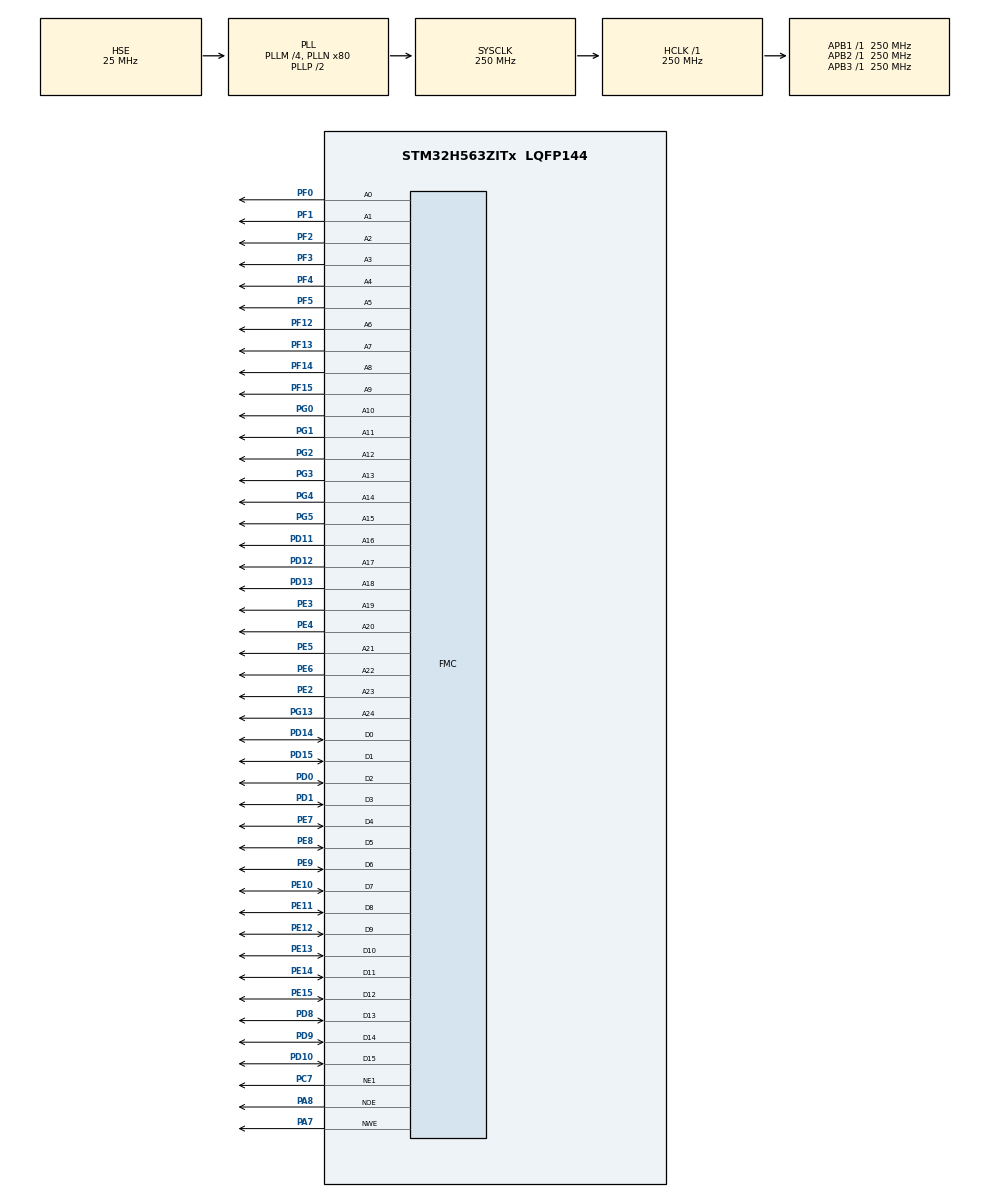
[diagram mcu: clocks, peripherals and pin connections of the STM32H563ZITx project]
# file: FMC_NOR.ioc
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BOOTPATH.BootPathName=LEGACY
BOOTPATH.UserSelectedBootPath=LEGACY
CORTEX_M33_NS.userName=CORTEX_M33
FMC.AddressSetupTime1=4
FMC.BusTurnAroundDuration1=1
FMC.DataHoldTime1=3
FMC.DataSetupTime1=8
FMC.WriteOperation1=FMC_WRITE_OPERATION_ENABLE
Mcu.Family=STM32H5
Mcu.Name=STM32H563ZITx
Mcu.Package=LQFP144
NVIC.PriorityGroup=NVIC_PRIORITYGROUP_4
PA15(JTDI).Signal=FMC_NBL1
PA7.Signal=FMC_NWE
PA8.Signal=FMC_NOE
PC7.Mode=NorPsramChipSelect1_1
PC7.Signal=FMC_NE1
PD0.Signal=FMC_D2_DA2
PD1.Signal=FMC_D3_DA3
PD10.Signal=FMC_D15_DA15
PD11.Signal=FMC_A16_CLE
PD12.Signal=FMC_A17_ALE
PD13.Signal=FMC_A18
PD14.Signal=FMC_D0_DA0
PD15.Signal=FMC_D1_DA1
PD8.Signal=FMC_D13_DA13
PD9.Signal=FMC_D14_DA14
PE0.Signal=FMC_NBL0
PE10.Signal=FMC_D7_DA7
PE11.Signal=FMC_D8_DA8
PE12.Signal=FMC_D9_DA9
PE13.Signal=FMC_D10_DA10
PE14.Signal=FMC_D11_DA11
PE15.Signal=FMC_D12_DA12
PE2.Signal=FMC_A23
PE3.Signal=FMC_A19
PE4.Signal=FMC_A20
PE5.Signal=FMC_A21
PE6.Signal=FMC_A22
PE7.Signal=FMC_D4_DA4
PE8.Signal=FMC_D5_DA5
PE9.Signal=FMC_D6_DA6
PF0.Signal=FMC_A0
PF1.Signal=FMC_A1
PF12.Signal=FMC_A6
PF13.Signal=FMC_A7
PF14.Signal=FMC_A8
PF15.Signal=FMC_A9
PF2.Signal=FMC_A2
PF3.Signal=FMC_A3
PF4.Signal=FMC_A4
PF5.Signal=FMC_A5
PG0.Signal=FMC_A10
PG1.Signal=FMC_A11
PG13.Signal=FMC_A24
PG2.Signal=FMC_A12
PG3.Signal=FMC_A13
PG4.Signal=FMC_A14_BA0
PG5.Signal=FMC_A15_BA1
PH0-OSC_IN(PH0).Mode=HSE-DIG-External-Clock-Source
PH0-OSC_IN(PH0).Signal=RCC_OSC_IN
ProjectManager.HeapSize=0x200
ProjectManager.StackSize=0x400
ProjectManager.TargetToolchain=EWARM V8
RCC.ADCFreq_Value=250000000
RCC.AHBFreq_Value=250000000
RCC.APB1Freq_Value=250000000
RCC.APB1TimFreq_Value=250000000
RCC.APB2Freq_Value=250000000
RCC.APB2TimFreq_Value=250000000
RCC.APB3Freq_Value=250000000
RCC.CSI_VALUE=4000000
RCC.CortexFreq_Value=250000000
RCC.EPOD_VALUE=25000000
RCC.HCLKFreq_Value=250000000
RCC.HSE_VALUE=25000000
RCC.HSI48_VALUE=48000000
RCC.HSI_VALUE=64000000
RCC.LSE_VALUE=32768
RCC.LSIRC_VALUE=32000
RCC.PLLM=4
RCC.PLLN=80
RCC.PLLSourceVirtual=RCC_PLL1_SOURCE_HSE
RCC.SYSCLKFreq_VALUE=250000000
RCC.SYSCLKSource=RCC_SYSCLKSOURCE_PLLCLK
RCC.USBFreq_Value=48000000
RCC.VCOOutputFreq_Value=500000000
SH.FMC_A0.0=FMC_A0,25b-a1
SH.FMC_A1.0=FMC_A1,25b-a1
SH.FMC_A10.0=FMC_A10,25b-a1
SH.FMC_A11.0=FMC_A11,25b-a1
SH.FMC_A12.0=FMC_A12,25b-a1
SH.FMC_A13.0=FMC_A13,25b-a1
SH.FMC_A14_BA0.0=FMC_A14,25b-a1
SH.FMC_A15_BA1.0=FMC_A15,25b-a1
SH.FMC_A16_CLE.0=FMC_A16,25b-a1
SH.FMC_A17_ALE.0=FMC_A17,25b-a1
SH.FMC_A18.0=FMC_A18,25b-a1
SH.FMC_A19.0=FMC_A19,25b-a1
SH.FMC_A2.0=FMC_A2,25b-a1
SH.FMC_A20.0=FMC_A20,25b-a1
SH.FMC_A21.0=FMC_A21,25b-a1
SH.FMC_A22.0=FMC_A22,25b-a1
SH.FMC_A23.0=FMC_A23,25b-a1
SH.FMC_A24.0=FMC_A24,25b-a1
SH.FMC_A3.0=FMC_A3,25b-a1
SH.FMC_A4.0=FMC_A4,25b-a1
SH.FMC_A5.0=FMC_A5,25b-a1
SH.FMC_A6.0=FMC_A6,25b-a1
SH.FMC_A7.0=FMC_A7,25b-a1
SH.FMC_A8.0=FMC_A8,25b-a1
SH.FMC_A9.0=FMC_A9,25b-a1
SH.FMC_D0_DA0.0=FMC_D0,16b-d1
SH.FMC_D10_DA10.0=FMC_D10,16b-d1
SH.FMC_D11_DA11.0=FMC_D11,16b-d1
SH.FMC_D12_DA12.0=FMC_D12,16b-d1
SH.FMC_D13_DA13.0=FMC_D13,16b-d1
SH.FMC_D14_DA14.0=FMC_D14,16b-d1
SH.FMC_D15_DA15.0=FMC_D15,16b-d1
SH.FMC_D1_DA1.0=FMC_D1,16b-d1
SH.FMC_D2_DA2.0=FMC_D2,16b-d1
SH.FMC_D3_DA3.0=FMC_D3,16b-d1
SH.FMC_D4_DA4.0=FMC_D4,16b-d1
SH.FMC_D5_DA5.0=FMC_D5,16b-d1
SH.FMC_D6_DA6.0=FMC_D6,16b-d1
SH.FMC_D7_DA7.0=FMC_D7,16b-d1
SH.FMC_D8_DA8.0=FMC_D8,16b-d1
SH.FMC_D9_DA9.0=FMC_D9,16b-d1
SH.FMC_NBL0.0=FMC_NBL0
SH.FMC_NBL1.0=FMC_NBL1
SH.FMC_NOE.0=FMC_NOE,NorFlash1
SH.FMC_NWE.0=FMC_NWE,NorFlash1
VP_BOOTPATH_VS_BOOTPATH.Mode=BP_Activate
VP_ICACHE_VS_ICACHE.Mode=DefaultMode
VP_MEMORYMAP_VS_MEMORYMAP.Mode=CurAppReg
VP_PWR_VS_DBSignals.Mode=DisableDeadBatterySignals
VP_PWR_VS_LPOM.Mode=PowerOptimisation
VP_PWR_VS_SECSignals.Mode=Security/Privilege
board=custom

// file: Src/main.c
/* USER CODE BEGIN Header */
/**
  ******************************************************************************
  * @file           : main.c
  * @brief          : Main program body
  ******************************************************************************
  * @attention
  *
  * Copyright (c) 2023 STMicroelectronics.
  * All rights reserved.
  *
  * This software is licensed under terms that can be found in the LICENSE file
  * in the root directory of this software component.
  * If no LICENSE file comes with this software, it is provided AS-IS.
  *
  ******************************************************************************
  */
/* USER CODE END Header */
#include "main.h"

NOR_HandleTypeDef hnor1;

/* USER CODE BEGIN PV */
/* Private variables ---------------------------------------------------------*/
FMC_NORSRAM_TimingTypeDef NOR_Timing;

/* Read/Write Buffers */
uint16_t aTxBuffer[BUFFER_SIZE];
uint16_t aRxBuffer[BUFFER_SIZE];

/* Status variables */
__IO uint32_t uwWriteReadStatus = 0;

/* Counter index */
uint32_t uwIndex = 0;
/* USER CODE END PV */

void SystemClock_Config(void);
static void MX_GPIO_Init(void);
static void MX_FMC_Init(void);
static void MX_ICACHE_Init(void);
/* USER CODE BEGIN PFP */
/* Private function prototypes -----------------------------------------------*/
static void Fill_Buffer(uint16_t *pBuffer, uint32_t uwBufferLength, uint16_t uwOffset);
static TestStatus Buffercmp(uint16_t *pBuffer1, uint16_t *pBuffer2, uint16_t BufferLength);
/* USER CODE END PFP */

int main(void)
{

  /* USER CODE BEGIN 1 */
  uint16_t *pdata = NULL;
  uint32_t index  = 0;
  uint32_t startaddress = 0;

  /* STM32H5xx HAL library initialization:
       - Systick timer is configured by default as source of time base, but user
             can eventually implement his proper time base source (a general purpose
             timer for example or other time source), keeping in mind that Time base
             duration should be kept 1ms since PPP_TIMEOUT_VALUEs are defined and
             handled in milliseconds basis.
       - Set NVIC Group Priority to 4
       - Low Level Initialization
     */
  /* USER CODE END 1 */

  /* MCU Configuration--------------------------------------------------------*/

  /* Reset of all peripherals, Initializes the Flash interface and the Systick. */
  HAL_Init();

  /* Configure the system clock */
  SystemClock_Config();

  /* Initialize all configured peripherals */
  MX_GPIO_Init();
  MX_FMC_Init();
  MX_ICACHE_Init();
  /* USER CODE BEGIN 2 */
  /* Fill the buffer to write */
  Fill_Buffer(aTxBuffer, BUFFER_SIZE, 0xC20F);

  /* Write data to the NOR memory */
  pdata = aTxBuffer;
  index = BUFFER_SIZE;
  startaddress = NOR_BANK_ADDR + WRITE_READ_ADDR;
  while(index > 0)
  {
    /* Write data to NOR */
    HAL_NOR_Program(&hnor1, (uint32_t *)startaddress, pdata);

    /* Read NOR device status */
    if(HAL_NOR_GetStatus(&hnor1, NOR_BANK_ADDR, NOR_TIMEOUT_VALUE) != HAL_NOR_STATUS_SUCCESS)
    {
      Error_Handler();
    }

    /* Update the counters */
    index--;
    startaddress += 2;
    pdata++;
  }

  /* Read back data from the NOR memory */
  if(HAL_NOR_ReadBuffer(&hnor1, NOR_BANK_ADDR + WRITE_READ_ADDR, aRxBuffer, BUFFER_SIZE) != HAL_OK)
  {
      Error_Handler();
  }

  /*##-3- Checking data integrity ############################################*/
  uwWriteReadStatus = Buffercmp(aTxBuffer, aRxBuffer, BUFFER_SIZE);

  if(uwWriteReadStatus != PASSED)
  {
    /* KO */

Error_Handler();

  }
  else
  {
    /* OK */

  }
  /* USER CODE END 2 */

  /* Infinite loop */
  while (1)
  {

  }
}

void SystemClock_Config(void)
{
  RCC_OscInitTypeDef RCC_OscInitStruct = {0};
  RCC_ClkInitTypeDef RCC_ClkInitStruct = {0};

  /** Configure the main internal regulator output voltage
  */
  __HAL_PWR_VOLTAGESCALING_CONFIG(PWR_REGULATOR_VOLTAGE_SCALE0);

  while(!__HAL_PWR_GET_FLAG(PWR_FLAG_VOSRDY)) {}

  /** Initializes the RCC Oscillators according to the specified parameters
  * in the RCC_OscInitTypeDef structure.
  */
  RCC_OscInitStruct.OscillatorType = RCC_OSCILLATORTYPE_HSE;
  RCC_OscInitStruct.HSEState = RCC_HSE_BYPASS_DIGITAL;
  RCC_OscInitStruct.PLL.PLLState = RCC_PLL_ON;
  RCC_OscInitStruct.PLL.PLLSource = RCC_PLL1_SOURCE_HSE;
  RCC_OscInitStruct.PLL.PLLM = 4;
  RCC_OscInitStruct.PLL.PLLN = 80;
  RCC_OscInitStruct.PLL.PLLP = 2;
  RCC_OscInitStruct.PLL.PLLQ = 2;
  RCC_OscInitStruct.PLL.PLLR = 2;
  RCC_OscInitStruct.PLL.PLLRGE = RCC_PLL1_VCIRANGE_2;
  RCC_OscInitStruct.PLL.PLLVCOSEL = RCC_PLL1_VCORANGE_WIDE;
  RCC_OscInitStruct.PLL.PLLFRACN = 0;
  if (HAL_RCC_OscConfig(&RCC_OscInitStruct) != HAL_OK)
  {
    Error_Handler();
  }

  /** Initializes the CPU, AHB and APB buses clocks
  */
  RCC_ClkInitStruct.ClockType = RCC_CLOCKTYPE_HCLK|RCC_CLOCKTYPE_SYSCLK
                              |RCC_CLOCKTYPE_PCLK1|RCC_CLOCKTYPE_PCLK2
                              |RCC_CLOCKTYPE_PCLK3;
  RCC_ClkInitStruct.SYSCLKSource = RCC_SYSCLKSOURCE_PLLCLK;
  RCC_ClkInitStruct.AHBCLKDivider = RCC_SYSCLK_DIV1;
  RCC_ClkInitStruct.APB1CLKDivider = RCC_HCLK_DIV1;
  RCC_ClkInitStruct.APB2CLKDivider = RCC_HCLK_DIV1;
  RCC_ClkInitStruct.APB3CLKDivider = RCC_HCLK_DIV1;

  if (HAL_RCC_ClockConfig(&RCC_ClkInitStruct, FLASH_LATENCY_5) != HAL_OK)
  {
    Error_Handler();
  }

  /** Configure the programming delay
  */
  __HAL_FLASH_SET_PROGRAM_DELAY(FLASH_PROGRAMMING_DELAY_2);
}

static void MX_ICACHE_Init(void)
{

  /** Enable instruction cache (default 2-ways set associative cache)
  */
  if (HAL_ICACHE_Enable() != HAL_OK)
  {
    Error_Handler();
  }

}

/* FMC initialization function */
static void MX_FMC_Init(void)
{

  FMC_NORSRAM_TimingTypeDef Timing = {0};

  /** Perform the NOR1 memory initialization sequence
  */
  hnor1.Instance = FMC_NORSRAM_DEVICE;
  hnor1.Extended = FMC_NORSRAM_EXTENDED_DEVICE;
  /* hnor1.Init */
  hnor1.Init.NSBank = FMC_NORSRAM_BANK1;
  hnor1.Init.DataAddressMux = FMC_DATA_ADDRESS_MUX_DISABLE;
  hnor1.Init.MemoryType = FMC_MEMORY_TYPE_NOR;
  hnor1.Init.MemoryDataWidth = FMC_NORSRAM_MEM_BUS_WIDTH_16;
  hnor1.Init.BurstAccessMode = FMC_BURST_ACCESS_MODE_DISABLE;
  hnor1.Init.WaitSignalPolarity = FMC_WAIT_SIGNAL_POLARITY_LOW;
  hnor1.Init.WaitSignalActive = FMC_WAIT_TIMING_BEFORE_WS;
  hnor1.Init.WriteOperation = FMC_WRITE_OPERATION_ENABLE;
  hnor1.Init.WaitSignal = FMC_WAIT_SIGNAL_DISABLE;
  hnor1.Init.ExtendedMode = FMC_EXTENDED_MODE_DISABLE;
  hnor1.Init.AsynchronousWait = FMC_ASYNCHRONOUS_WAIT_DISABLE;
  hnor1.Init.WriteBurst = FMC_WRITE_BURST_DISABLE;
  hnor1.Init.ContinuousClock = FMC_CONTINUOUS_CLOCK_SYNC_ONLY;
  hnor1.Init.WriteFifo = FMC_WRITE_FIFO_ENABLE;
  hnor1.Init.NBLSetupTime = 0;
  hnor1.Init.PageSize = FMC_PAGE_SIZE_NONE;
  hnor1.Init.MaxChipSelectPulse = DISABLE;
  /* Timing */
  Timing.AddressSetupTime = 4;
  Timing.AddressHoldTime = 15;
  Timing.DataSetupTime = 8;
  Timing.DataHoldTime = 3;
  Timing.BusTurnAroundDuration = 1;
  Timing.CLKDivision = 16;
  Timing.DataLatency = 17;
  Timing.AccessMode = FMC_ACCESS_MODE_A;
  /* ExtTiming */

  if (HAL_NOR_Init(&hnor1, &Timing, NULL) != HAL_OK)
  {
    Error_Handler( );
  }

}

static void MX_GPIO_Init(void)
{

  /* GPIO Ports Clock Enable */
  __HAL_RCC_GPIOE_CLK_ENABLE();
  __HAL_RCC_GPIOF_CLK_ENABLE();
  __HAL_RCC_GPIOH_CLK_ENABLE();
  __HAL_RCC_GPIOA_CLK_ENABLE();
  __HAL_RCC_GPIOG_CLK_ENABLE();
  __HAL_RCC_GPIOD_CLK_ENABLE();
  __HAL_RCC_GPIOC_CLK_ENABLE();

}

/* USER CODE BEGIN 4 */
/**
  * @brief  Fills buffer with user predefined data.
  * @param  pBuffer: pointer on the buffer to fill
  * @param  uwBufferLength: size of the buffer to fill
  * @param  uwOffset: first value to fill on the buffer
  * @retval None
  */
static void Fill_Buffer(uint16_t *pBuffer, uint32_t uwBufferLength, uint16_t uwOffset)
{
  uint16_t tmpIndex = 0;

  /* Put in global buffer different values */
  for (tmpIndex = 0; tmpIndex < uwBufferLength; tmpIndex++)
  {
    pBuffer[tmpIndex] = tmpIndex + uwOffset;
  }
}

/**
  * @brief  Compares two buffers.
  * @param  pBuffer1, pBuffer2: buffers to be compared.
  * @param  BufferLength: buffer's length
  * @retval PASSED: pBuffer identical to pBuffer1
  *         FAILED: pBuffer differs from pBuffer1
  */
static TestStatus Buffercmp(uint16_t *pBuffer1, uint16_t *pBuffer2, uint16_t BufferLength)
{
  while (BufferLength--)
  {
    if (*pBuffer1 != *pBuffer2)
    {
      return FAILED;
    }

    pBuffer1++;
    pBuffer2++;
  }

  return PASSED;
}
/* USER CODE END 4 */

void Error_Handler(void)
{
  while(1)
  {
  }
}
